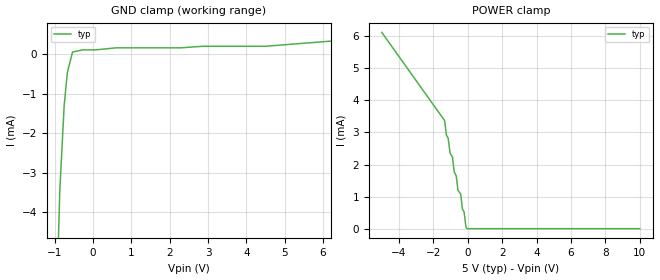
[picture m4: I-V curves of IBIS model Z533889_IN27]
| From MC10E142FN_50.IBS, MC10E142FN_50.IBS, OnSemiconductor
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| (C) COPYRIGHT 1993-2000
| MENTOR GRAPHICS CORPORATION
| ICX STANDARD LIBRARY, ICX PROJECT MODELING,
| ICX CUSTOM MODELING, ICX VENDOR MODEL
| ALL RIGHTS RESERVED.
| THE FOLLOWING ARE TRADEMARKS OR SERVICE MARKS OF
| MENTOR GRAPHICS CORPORATION:ICX (R), ICX STANDARD
| LIBRARY(R), ICX PROJECT MODELING(R), ICX CUSTOM
| MODELING(R), qualityIBIS(TM), MODELVIEWER(TM),
| AND MODELEDITOR(TM)
| ALL COPIES OF SOFTWARE, INCLUDING BUT NOT LIMITED TO
| ANY MODIFICATIONS, ENHANCEMENTS OR DERIVATIVE WORKS,
| MUST CONTAIN ALL MENTOR GRAPHICS CORPORATION'S
| NOTICES AND LEGENDS, INCLUDING THOSE EMBEDDED IN
| SOFTWARE AND THOSE AFFIXED TO SOFTWARE MEDIUM
| AND CONTAINER, AS RECEIVED FROM MENTOR GRAPHICS
| CORPORATION.
| Model Application Version 1.89 2/18/99.
[Model] Z533889_IN27
Model_type Input_ECL
Vinl = 3.520V
Vinh = 3.830V
C_comp 2.000pF NA NA
| variable typ   min   max
[Voltage Range] 5.000V NA NA
[GND Clamp Reference] 0.000V NA NA
[POWER Clamp Reference] 5.000V NA NA
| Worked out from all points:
|   GND clamp passes 1 mA (typ) near -0.72 V on its own axis
|   POWER clamp passes 1 mA (typ) near -0.39 V on its own axis
[GND Clamp]
-5V       -286.6mA   NA         NA
-1.094V   -11.4mA    NA         NA
-863.7mV  -3.452mA   NA         NA
-749.3mV  -1.292mA   NA         NA
-666.2mV  -460.2uA   NA         NA
-532.2mV  55.19uA    NA         NA
-266.1mV  110.5uA    NA         NA
69.95mV   110.5uA    NA         NA
608.7mV   162.9uA    NA         NA
2.298V    162.9uA    NA         NA
4.505V    202.6uA    NA         NA
10V       622.7uA    NA         NA
[POWER Clamp]
-5V       6.123mA    NA         NA
-1.343V   3.368mA    NA         NA
-1.246V   2.923mA    NA         NA
-1.144V   2.829mA    NA         NA
-1.028V   2.356mA    NA         NA
-888mV    2.23mA     NA         NA
-572mV    1.199mA    NA         NA
-411mV    1.078mA    NA         NA
-310mV    610.3uA    NA         NA
-214mV    520.2uA    NA         NA
-55.5mV   0A         NA         NA
10V       0A         NA         NA
